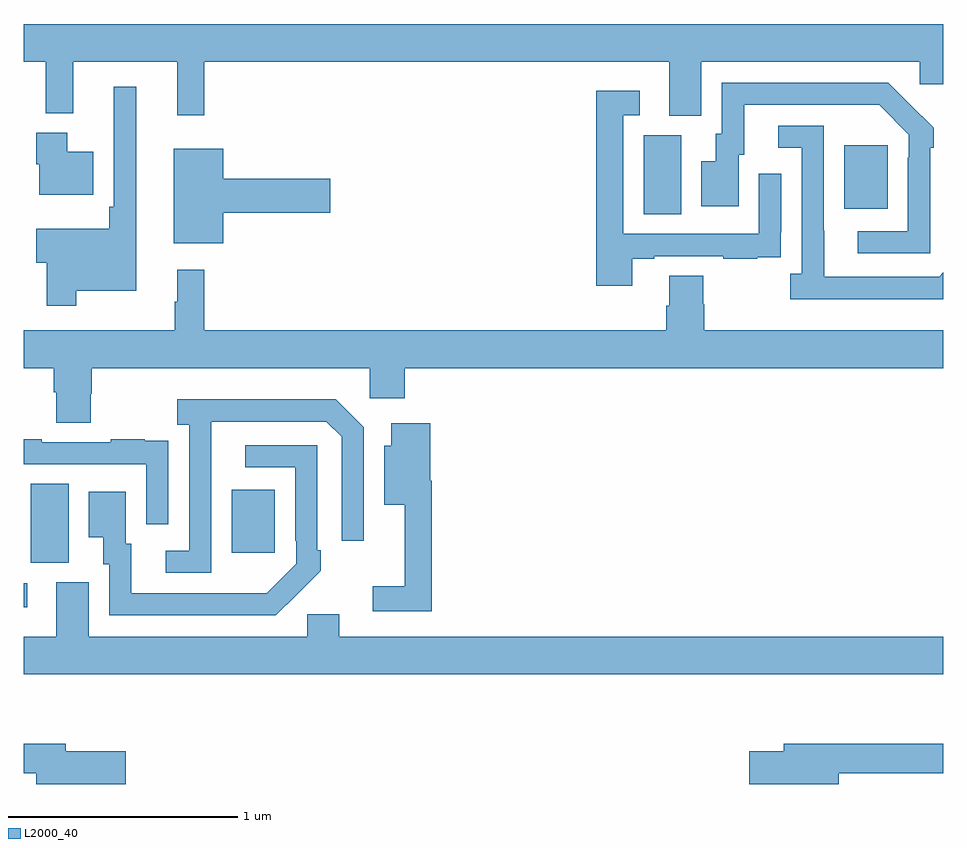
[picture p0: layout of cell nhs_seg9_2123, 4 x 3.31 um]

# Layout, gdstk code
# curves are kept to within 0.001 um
import gdstk
lib = gdstk.Library(unit=1e-6, precision=1e-09)
def R(c, l, rs):  # rectangles x0, y0, x1, y1
    for r in rs: c.add(gdstk.rectangle(r[:2], r[2:], *l))
def P(c, l, *ps):  # polygons
    for p in ps: c.add(gdstk.Polygon(p, *l))
L2000_40 = (2000, 40)

nhs_seg9_2123 = lib.new_cell('nhs_seg9_2123')
R(nhs_seg9_2123, L2000_40, [(231,1227.348,231.016,1227.453), (231.032,1227.541,231.196,1227.884), (231.905,1227.585,232.093,1227.859), (233.696,1229.056,233.86,1229.4), (234.569,1229.081,234.757,1229.356)])
P(nhs_seg9_2123, L2000_40, [(233.947,1229.72),(234.897,1229.72),(234.897,1229.622),(235,1229.622),(235,1229.884),(231,1229.884),(231,1229.72),(231.097,1229.72),(231.097,1229.495),(231.215,1229.495),(231.215,1229.72),(231.668,1229.72),(231.668,1229.487),(231.785,1229.487),(231.785,1229.72),(233.807,1229.72),(233.807,1229.485),(233.947,1229.485)],
  [(234.942,1229.345),(234.957,1229.345),(234.957,1229.433),(234.76,1229.628),(234.036,1229.628),(234.036,1229.406),(234.011,1229.406),(234.011,1229.287),(233.948,1229.287),(233.948,1229.091),(234.109,1229.091),(234.109,1229.316),(234.133,1229.316),(234.133,1229.532),(234.721,1229.532),(234.849,1229.403),(234.849,1229.303),(234.846,1229.303),(234.846,1228.983),(234.627,1228.983),(234.627,1228.887),(234.942,1228.887)],
  [(231.229,1228.724),(231.49,1228.724),(231.49,1229.611),(231.393,1229.611),(231.393,1229.089),(231.373,1229.089),(231.373,1228.993),(231.056,1228.993),(231.056,1228.846),(231.1,1228.846),(231.1,1228.659),(231.229,1228.659)],
  [(233.647,1228.863),(233.743,1228.863),(233.743,1228.875),(234.043,1228.875),(234.043,1228.863),(234.191,1228.863),(234.191,1228.869),(234.293,1228.869),(234.293,1228.978),(234.294,1228.978),(234.294,1229.233),(234.198,1229.233),(234.198,1228.971),(233.607,1228.971),(233.607,1229.487),(233.68,1229.487),(233.68,1229.593),(233.491,1229.593),(233.491,1228.746),(233.647,1228.746)],
  [(235,1228.804),(234.981,1228.785),(234.481,1228.785),(234.48,1229.442),(234.282,1229.442),(234.282,1229.346),(234.384,1229.346),(234.384,1228.798),(234.333,1228.798),(234.333,1228.688),(235,1228.688)],
  [(231.304,1229.329),(231.19,1229.329),(231.19,1229.41),(231.056,1229.41),(231.056,1229.274),(231.068,1229.274),(231.068,1229.141),(231.304,1229.141)],
  [(231.868,1229.063),(232.333,1229.063),(232.333,1229.21),(231.868,1229.21),(231.868,1229.341),(231.653,1229.341),(231.653,1228.931),(231.868,1228.931)],
  [(231.291,1228.275),(231.296,1228.275),(231.296,1228.388),(232.506,1228.388),(232.506,1228.257),(232.658,1228.257),(232.658,1228.388),(235,1228.388),(235,1228.552),(233.96,1228.552),(233.96,1228.665),(233.955,1228.665),(233.955,1228.79),(233.807,1228.79),(233.807,1228.658),(233.795,1228.658),(233.795,1228.552),(231.785,1228.552),(231.785,1228.816),(231.668,1228.816),(231.668,1228.676),(231.657,1228.676),(231.657,1228.552),(231,1228.552),(231,1228.388),(231.131,1228.388),(231.131,1228.282),(231.143,1228.282),(231.143,1228.15),(231.291,1228.15)],
  [(231.816,1227.955),(231.817,1228.155),(232.317,1228.155),(232.383,1228.089),(232.383,1227.636),(232.479,1227.636),(232.479,1228.131),(232.358,1228.252),(231.669,1228.252),(231.669,1228.142),(231.72,1228.142),(231.72,1227.594),(231.618,1227.594),(231.618,1227.498),(231.816,1227.498)],
  [(232.775,1227.898),(232.769,1227.898),(232.769,1228.147),(232.598,1228.147),(232.598,1228.051),(232.568,1228.051),(232.568,1227.794),(232.658,1227.794),(232.658,1227.439),(232.518,1227.439),(232.518,1227.33),(232.775,1227.33)],
  [(231.63,1227.962),(231.629,1227.962),(231.629,1228.071),(231.527,1228.071),(231.527,1228.078),(231.379,1228.078),(231.379,1228.065),(231.079,1228.065),(231.079,1228.078),(231,1228.078),(231,1227.969),(231.534,1227.969),(231.534,1227.708),(231.63,1227.708)],
  [(232.187,1227.403),(232.188,1227.402),(232.293,1227.507),(232.293,1227.595),(232.278,1227.595),(232.278,1228.053),(231.963,1228.053),(231.963,1227.957),(232.182,1227.957),(232.182,1227.637),(232.185,1227.637),(232.185,1227.537),(232.057,1227.409),(231.469,1227.408),(231.469,1227.624),(231.445,1227.624),(231.445,1227.85),(231.284,1227.85),(231.284,1227.653),(231.347,1227.653),(231.347,1227.534),(231.372,1227.534),(231.372,1227.312),(232.096,1227.312)],
  [(235,1227.22),(232.372,1227.22),(232.372,1227.318),(232.233,1227.318),(232.233,1227.22),(231.283,1227.22),(231.283,1227.456),(231.143,1227.456),(231.143,1227.22),(231,1227.22),(231,1227.056),(235,1227.056)],
  [(234.544,1226.626),(235,1226.626),(235,1226.755),(234.305,1226.755),(234.305,1226.721),(234.156,1226.721),(234.156,1226.579),(234.544,1226.579)],
  [(231.445,1226.721),(231.184,1226.721),(231.184,1226.755),(231,1226.755),(231,1226.626),(231.056,1226.626),(231.056,1226.579),(231.445,1226.579)])

lib.write_gds('nhs_seg9_2123.gds')
